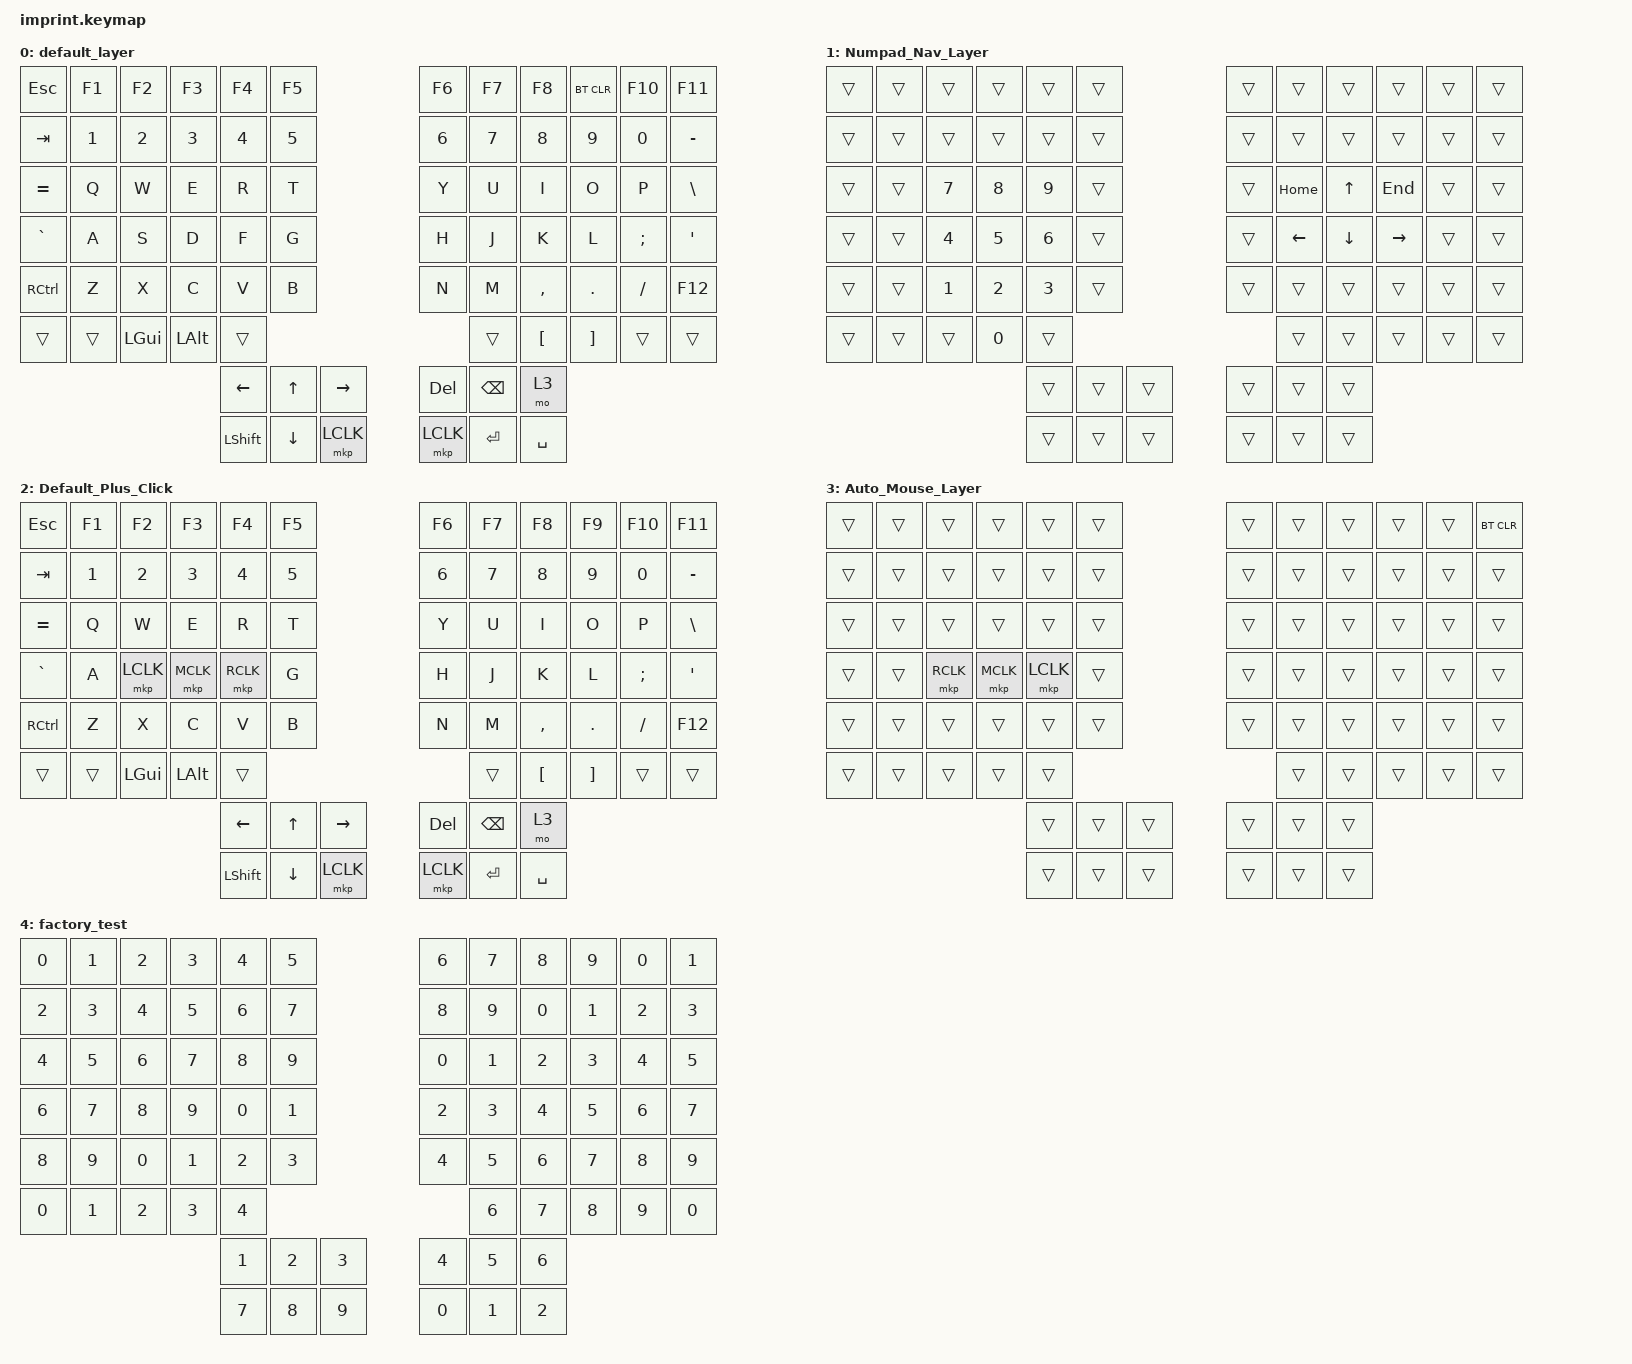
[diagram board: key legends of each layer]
#include <input/processors.dtsi>
#include <dt-bindings/zmk/input_transform.h>
#include <behaviors.dtsi>
#include <dt-bindings/zmk/keys.h>
#include <dt-bindings/zmk/pointing.h>
#include <dt-bindings/zmk/bt.h>

/ {
    chosen { zmk,matrix-transform = &imprint_function_row_full_bottom_row; };

    keymap {
        compatible = "zmk,keymap";

        default_layer {
            bindings = <
&kp ESC       &kp F1  &kp F2    &kp F3    &kp F4          &kp F5                             &kp F6           &kp F7     &kp F8     &bt BT_CLR    &kp F10   &kp F11
&kp TAB       &kp N1  &kp N2    &kp N3    &kp N4          &kp N5                             &kp N6           &kp N7     &kp N8     &kp N9    &kp N0    &kp MINUS
&kp EQUAL     &kp Q   &kp W     &kp E     &kp R           &kp T                              &kp Y            &kp U      &kp I      &kp O     &kp P     &kp BSLH
&kp GRAVE     &kp A   &kp S     &kp D     &kp F           &kp G                              &kp H            &kp J      &kp K      &kp L     &kp SEMI  &kp SQT
&kp RCTRL     &kp Z   &kp X     &kp C     &kp V           &kp B                              &kp N            &kp M      &kp COMMA  &kp DOT   &kp FSLH  &kp F12
&trans        &trans  &kp LGUI  &kp LALT  &trans                                                              &trans     &kp LBKT   &kp RBKT  &trans    &trans
                                          &kp LEFT_ARROW   &kp UP_ARROW     &kp RIGHT_ARROW      &kp DELETE  &kp BSPC   &mo 3
                                          &kp LEFT_SHIFT   &kp DOWN_ARROW   &mkp LCLK             &mkp LCLK   &kp ENTER  &kp SPACE
            >;
        };

        Numpad_Nav_Layer {
            bindings = <
&trans  &trans  &trans  &trans  &trans  &trans            &trans  &trans    &trans    &trans     &trans  &trans
&trans  &trans  &trans  &trans  &trans  &trans            &trans  &trans    &trans    &trans     &trans  &trans
&trans  &trans  &kp N7  &kp N8  &kp N9  &trans            &trans  &kp HOME  &kp UP    &kp END    &trans  &trans
&trans  &trans  &kp N4  &kp N5  &kp N6  &trans            &trans  &kp LEFT  &kp DOWN  &kp RIGHT  &trans  &trans
&trans  &trans  &kp N1  &kp N2  &kp N3  &trans            &trans  &trans    &trans    &trans     &trans  &trans
&trans  &trans  &trans  &kp N0  &trans                            &trans    &trans    &trans     &trans  &trans
                                &trans  &trans  &trans    &trans  &trans    &trans
                                &trans  &trans  &trans    &trans  &trans    &trans
            >;
        };

        Default_Plus_Click {
            bindings = <
&kp ESC       &kp F1  &kp F2     &kp F3     &kp F4          &kp F5                             &kp F6           &kp F7     &kp F8     &kp F9    &kp F10   &kp F11
&kp TAB       &kp N1  &kp N2     &kp N3     &kp N4          &kp N5                             &kp N6           &kp N7     &kp N8     &kp N9    &kp N0    &kp MINUS
&kp EQUAL     &kp Q   &kp W      &kp E      &kp R           &kp T                              &kp Y            &kp U      &kp I      &kp O     &kp P     &kp BSLH
&kp GRAVE     &kp A   &mkp LCLK  &mkp MCLK  &mkp RCLK       &kp G                              &kp H            &kp J      &kp K      &kp L     &kp SEMI  &kp SQT
&kp RCTRL     &kp Z   &kp X      &kp C      &kp V           &kp B                              &kp N            &kp M      &kp COMMA  &kp DOT   &kp FSLH  &kp F12
&trans        &trans  &kp LGUI   &kp LALT   &trans                                                              &trans     &kp LBKT   &kp RBKT  &trans    &trans
                                          &kp LEFT_ARROW   &kp UP_ARROW     &kp RIGHT_ARROW      &kp DELETE  &kp BSPC   &mo 3
                                          &kp LEFT_SHIFT   &kp DOWN_ARROW   &mkp LCLK             &mkp LCLK   &kp ENTER  &kp SPACE
            >;
        };

        Auto_Mouse_Layer {
            bindings = <
&trans  &trans  &trans     &trans     &trans     &trans            &trans  &trans  &trans  &trans  &trans  &bt BT_CLR
&trans  &trans  &trans     &trans     &trans     &trans            &trans  &trans  &trans  &trans  &trans  &trans
&trans  &trans  &trans     &trans     &trans     &trans            &trans  &trans  &trans  &trans  &trans  &trans
&trans  &trans  &mkp RCLK  &mkp MCLK  &mkp LCLK  &trans            &trans  &trans  &trans  &trans  &trans  &trans
&trans  &trans  &trans     &trans     &trans     &trans            &trans  &trans  &trans  &trans  &trans  &trans
&trans  &trans  &trans     &trans     &trans                               &trans  &trans  &trans  &trans  &trans
                                      &trans     &trans  &trans    &trans  &trans  &trans
                                      &trans     &trans  &trans    &trans  &trans  &trans
            >;
        };

        factory_test {
            bindings = <
&kp N0  &kp N1  &kp N2  &kp N3  &kp N4  &kp N5            &kp N6  &kp N7  &kp N8  &kp N9  &kp N0  &kp N1
&kp N2  &kp N3  &kp N4  &kp N5  &kp N6  &kp N7            &kp N8  &kp N9  &kp N0  &kp N1  &kp N2  &kp N3
&kp N4  &kp N5  &kp N6  &kp N7  &kp N8  &kp N9            &kp N0  &kp N1  &kp N2  &kp N3  &kp N4  &kp N5
&kp N6  &kp N7  &kp N8  &kp N9  &kp N0  &kp N1            &kp N2  &kp N3  &kp N4  &kp N5  &kp N6  &kp N7
&kp N8  &kp N9  &kp N0  &kp N1  &kp N2  &kp N3            &kp N4  &kp N5  &kp N6  &kp N7  &kp N8  &kp N9
&kp N0  &kp N1  &kp N2  &kp N3  &kp N4                            &kp N6  &kp N7  &kp N8  &kp N9  &kp N0
                                &kp N1  &kp N2  &kp N3    &kp N4  &kp N5  &kp N6
                                &kp N7  &kp N8  &kp N9    &kp N0  &kp N1  &kp N2
            >;
        };
    };
};

//right hand trackball configuration

&trackball_peripheral_listener {
    input-processors =
        // this gets it to the default installation orientation,,,,
        // <&zip_xy_transform INPUT_TRANSFORM_XY_SWAP>;,,
        // activate layer 2 within 300ms of the trackball moving,,
        <&zip_temp_layer 2 300>;

    scroller {
        layers = <3>;
        input-processors =
            <&zip_xy_scaler 1 10>,
            <&zip_xy_to_scroll_mapper>,
            <&zip_scroll_transform INPUT_TRANSFORM_Y_INVERT>;
    };
};
        // this gets it to the default installation orientation,,,,
        // <&zip_xy_transform INPUT_TRANSFORM_XY_SWAP>,
        // multiply sensitivity by 1, divide by 3 (make it slower for scrolling),,,,
        // <&zip_xy_scaler 1 3>,
        // make this trackball output scrolling events by default instead of cursor movement,,,,
        // <&zip_xy_to_scroll_mapper>,
        // invert vertical scrolling so that the view moves in the same direction as the top of the trackball.,,,,
        // <&zip_scroll_transform INPUT_TRANSFORM_Y_INVERT>;
// };
